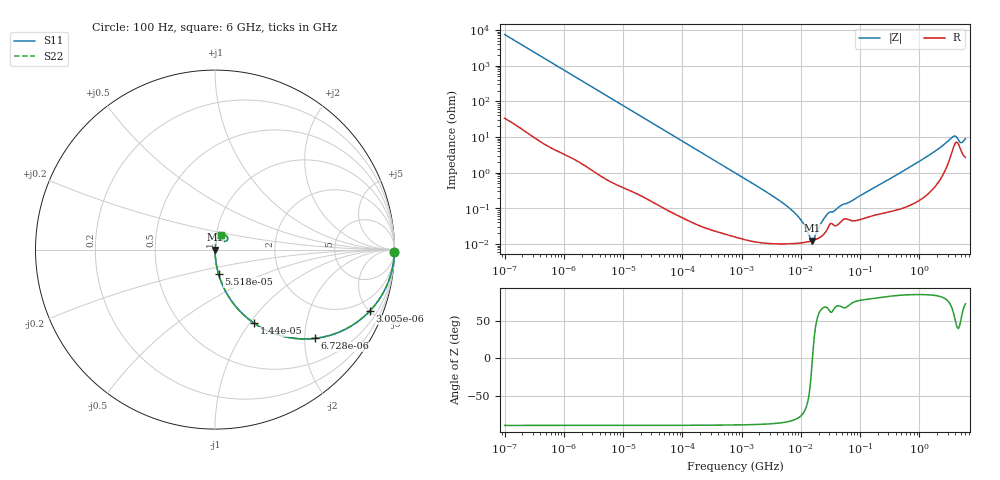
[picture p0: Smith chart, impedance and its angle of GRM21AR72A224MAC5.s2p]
!Murata Part Number: GRM21AR72A224MAC5
!These Parameters are Measured in Series Mode Connection
!Data Generated on Mar 30, 2021
!  o--ll--o
!Port1  Port2
!  o------o
!Operation Temp=25[degC], DC Bias Voltage=0[V]
!Freq. Start=100[Hz] Stop=6[GHz] 401[Steps]
# Hz S RI R 50
!Freq.(Hz) S11(Real) S11(Imag) S21(Real) S21(Imag) S12(Real) S12(Imag) S22(Real) S22(Imag)
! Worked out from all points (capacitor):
!   401 points, 100 Hz to 6 GHz, reference 50 ohm
!   read as one part in series: C = 213 nF near 109 Hz
!   lowest |Z| = 12.4 mohm at 15.56 MHz (marker M1)
!   series resonance near 15.73 MHz, so ESL is about 480 pH
!   S11 on the Smith chart (normalised r, x): 100 Hz: open; 3.005 kHz: 1.02, -5.02; 6.728 kHz: 1.01, -2.25; 14.4 kHz: 1.01, -1.05; 55.18 kHz: 1.00, -0.28; 6 GHz: 1.05, +0.17
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100  0.9998 -0.0134  0.000239 0.0134  0.000239 0.0134  0.9998 -0.0134
600  0.9934 -0.0793  0.00664 0.0793  0.00664 0.0793  0.9934 -0.0793
2008  0.9327 -0.2482  0.0673 0.2482  0.0673 0.2482  0.9327 -0.2482
3005  0.862 -0.3426  0.138 0.3426  0.138 0.3426  0.862 -0.3426
6728  0.5579 -0.4944  0.4421 0.4944  0.4421 0.4944  0.5579 -0.4944
14402  0.2181 -0.4102  0.7819 0.4102  0.7819 0.4102  0.2181 -0.4102
40335  0.0354 -0.1818  0.9646 0.1818  0.9646 0.1818  0.0354 -0.1818
55182  0.0195 -0.1352  0.9805 0.1352  0.9805 0.1352  0.0195 -0.1352
774597  0.000255 -0.00991  0.9997 0.00991  0.9997 0.00991  0.000255 -0.00991
6644369  0.000102 -0.000958  0.9999 0.000958  0.9999 0.000958  0.000102 -0.000958
9941735  0.000107 -0.000469  0.9999 0.000469  0.9999 0.000469  0.000107 -0.000469
1.422411e7  0.000118 -0.0001  0.9999 0.0001  0.9999 0.0001  0.000118 -0.0001
1.555665e7  0.000123 -1.07e-05  0.9999 1.07e-05  0.9999 1.07e-05  0.000123 -1.07e-05
1.701401e7  0.000129 7.9e-05  0.9999 -7.9e-05  0.9999 -7.9e-05  0.000129 7.9e-05
2.327686e7  0.000173 0.000413  0.9998 -0.000413  0.9998 -0.000413  0.000173 0.000413
2.911731e7  0.000298 0.000671  0.9997 -0.000671  0.9997 -0.000671  0.000298 0.000671
3.124326e8  0.000835 0.00652  0.9992 -0.00652  0.9992 -0.00652  0.000835 0.00652
1.497423e9  0.00376 0.0314  0.9962 -0.0314  0.9962 -0.0314  0.00376 0.0314
3.666503e9  0.0492 0.0827  0.9508 -0.0827  0.9508 -0.0827  0.0492 0.0827
4.009986e9  0.067 0.0737  0.933 -0.0737  0.933 -0.0737  0.067 0.0737
5.016141e9  0.0443 0.0488  0.9557 -0.0488  0.9557 -0.0488  0.0443 0.0488
6e9  0.0328 0.0813  0.9672 -0.0813  0.9672 -0.0813  0.0328 0.0813
